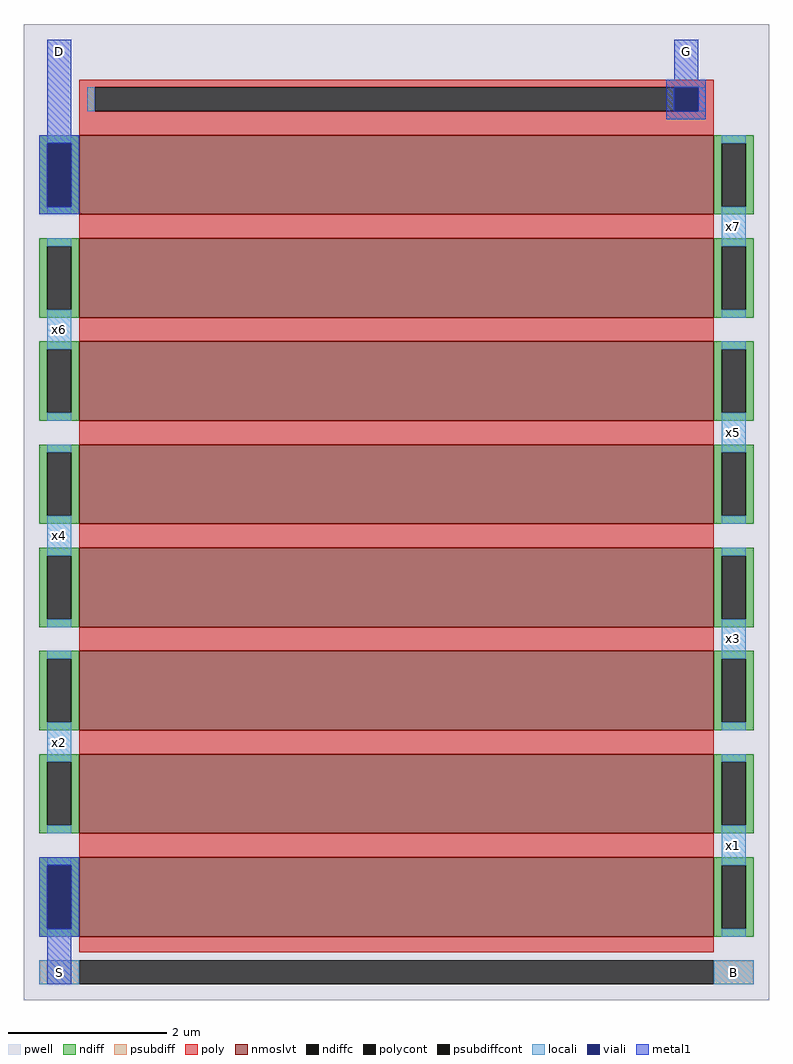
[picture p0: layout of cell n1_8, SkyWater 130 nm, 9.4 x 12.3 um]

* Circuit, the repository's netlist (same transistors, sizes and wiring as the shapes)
* NGSPICE file created from n1_8.ext - technology: sky130A

.subckt n1_8 D G S B
X0 x1 G S B sky130_fd_pr__nfet_01v8_lvt ad=1e+12p pd=6e+06u as=5e+11p ps=3e+06u w=1e+06u l=8e+06u
X1 x5 G x4 B sky130_fd_pr__nfet_01v8_lvt ad=1e+12p pd=6e+06u as=1e+12p ps=6e+06u w=1e+06u l=8e+06u
X2 x3 G x2 B sky130_fd_pr__nfet_01v8_lvt ad=1e+12p pd=6e+06u as=1e+12p ps=6e+06u w=1e+06u l=8e+06u
X3 x1 G x2 B sky130_fd_pr__nfet_01v8_lvt ad=0p pd=0u as=0p ps=0u w=1e+06u l=8e+06u
X4 x7 G D B sky130_fd_pr__nfet_01v8_lvt ad=1e+12p pd=6e+06u as=5e+11p ps=3e+06u w=1e+06u l=8e+06u
X5 x5 G x6 B sky130_fd_pr__nfet_01v8_lvt ad=0p pd=0u as=1e+12p ps=6e+06u w=1e+06u l=8e+06u
X6 x3 G x4 B sky130_fd_pr__nfet_01v8_lvt ad=0p pd=0u as=0p ps=0u w=1e+06u l=8e+06u
X7 x7 G x6 B sky130_fd_pr__nfet_01v8_lvt ad=0p pd=0u as=0p ps=0u w=1e+06u l=8e+06u
.ends

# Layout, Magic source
magic
tech sky130A
<< pwell >>
rect 5130 6720 6070 7950
<< nmoslvt >>
rect 5200 7710 6000 7810
rect 5200 7580 6000 7680
rect 5200 7450 6000 7550
rect 5200 7320 6000 7420
rect 5200 7190 6000 7290
rect 5200 7060 6000 7160
rect 5200 6930 6000 7030
rect 5200 6800 6000 6900
<< ndiff >>
rect 5150 7800 5200 7810
rect 5150 7720 5160 7800
rect 5190 7720 5200 7800
rect 5150 7710 5200 7720
rect 6000 7800 6050 7810
rect 6000 7720 6010 7800
rect 6040 7720 6050 7800
rect 6000 7710 6050 7720
rect 5150 7670 5200 7680
rect 5150 7590 5160 7670
rect 5190 7590 5200 7670
rect 5150 7580 5200 7590
rect 6000 7670 6050 7680
rect 6000 7590 6010 7670
rect 6040 7590 6050 7670
rect 6000 7580 6050 7590
rect 5150 7540 5200 7550
rect 5150 7460 5160 7540
rect 5190 7460 5200 7540
rect 5150 7450 5200 7460
rect 6000 7540 6050 7550
rect 6000 7460 6010 7540
rect 6040 7460 6050 7540
rect 6000 7450 6050 7460
rect 5150 7410 5200 7420
rect 5150 7330 5160 7410
rect 5190 7330 5200 7410
rect 5150 7320 5200 7330
rect 6000 7410 6050 7420
rect 6000 7330 6010 7410
rect 6040 7330 6050 7410
rect 6000 7320 6050 7330
rect 5150 7280 5200 7290
rect 5150 7200 5160 7280
rect 5190 7200 5200 7280
rect 5150 7190 5200 7200
rect 6000 7280 6050 7290
rect 6000 7200 6010 7280
rect 6040 7200 6050 7280
rect 6000 7190 6050 7200
rect 5150 7150 5200 7160
rect 5150 7070 5160 7150
rect 5190 7070 5200 7150
rect 5150 7060 5200 7070
rect 6000 7150 6050 7160
rect 6000 7070 6010 7150
rect 6040 7070 6050 7150
rect 6000 7060 6050 7070
rect 5150 7020 5200 7030
rect 5150 6940 5160 7020
rect 5190 6940 5200 7020
rect 5150 6930 5200 6940
rect 6000 7020 6050 7030
rect 6000 6940 6010 7020
rect 6040 6940 6050 7020
rect 6000 6930 6050 6940
rect 5150 6890 5200 6900
rect 5150 6810 5160 6890
rect 5190 6810 5200 6890
rect 5150 6800 5200 6810
rect 6000 6890 6050 6900
rect 6000 6810 6010 6890
rect 6040 6810 6050 6890
rect 6000 6800 6050 6810
<< ndiffc >>
rect 5160 7720 5190 7800
rect 6010 7720 6040 7800
rect 5160 7590 5190 7670
rect 6010 7590 6040 7670
rect 5160 7460 5190 7540
rect 6010 7460 6040 7540
rect 5160 7330 5190 7410
rect 6010 7330 6040 7410
rect 5160 7200 5190 7280
rect 6010 7200 6040 7280
rect 5160 7070 5190 7150
rect 6010 7070 6040 7150
rect 5160 6940 5190 7020
rect 6010 6940 6040 7020
rect 5160 6810 5190 6890
rect 6010 6810 6040 6890
<< psubdiff >>
rect 5150 6740 5200 6770
rect 6000 6740 6050 6770
<< psubdiffcont >>
rect 5200 6740 6000 6770
<< poly >>
rect 5200 7870 6000 7880
rect 5200 7840 5220 7870
rect 5980 7840 6000 7870
rect 5200 7810 6000 7840
rect 5200 7680 6000 7710
rect 5200 7550 6000 7580
rect 5200 7420 6000 7450
rect 5200 7290 6000 7320
rect 5200 7160 6000 7190
rect 5200 7030 6000 7060
rect 5200 6900 6000 6930
rect 5200 6780 6000 6800
<< polycont >>
rect 5220 7840 5980 7870
<< locali >>
rect 5210 7840 5220 7870
rect 5980 7840 5990 7870
rect 5160 7800 5190 7810
rect 5160 7710 5190 7720
rect 6010 7800 6040 7810
rect 5160 7670 5190 7680
rect 5160 7540 5190 7590
rect 6010 7670 6040 7720
rect 6010 7580 6040 7590
rect 5160 7450 5190 7460
rect 6010 7540 6040 7550
rect 5160 7410 5190 7420
rect 5160 7280 5190 7330
rect 6010 7410 6040 7460
rect 6010 7320 6040 7330
rect 5160 7190 5190 7200
rect 6010 7280 6040 7290
rect 5160 7150 5190 7160
rect 5160 7020 5190 7070
rect 6010 7150 6040 7200
rect 6010 7060 6040 7070
rect 5160 6930 5190 6940
rect 6010 7020 6040 7030
rect 5160 6890 5190 6900
rect 5160 6800 5190 6810
rect 6010 6890 6040 6940
rect 6010 6800 6040 6810
rect 5150 6740 5200 6770
rect 6000 6740 6050 6770
<< viali >>
rect 5950 7840 5980 7870
rect 5160 7720 5190 7800
rect 5160 6810 5190 6890
<< metal1 >>
rect 5160 7810 5190 7930
rect 5950 7880 5980 7930
rect 5940 7870 5990 7880
rect 5940 7840 5950 7870
rect 5980 7840 5990 7870
rect 5940 7830 5990 7840
rect 5150 7800 5200 7810
rect 5150 7720 5160 7800
rect 5190 7720 5200 7800
rect 5150 7710 5200 7720
rect 5150 6890 5200 6900
rect 5150 6810 5160 6890
rect 5190 6810 5200 6890
rect 5150 6800 5200 6810
rect 5160 6740 5190 6800
<< labels >>
rlabel metal1 5170 6750 5180 6760 1 S
port 3 n
rlabel pwell 6020 6750 6030 6760 1 B
port 4 n
rlabel metal1 5960 7910 5970 7920 1 G
port 2 n
rlabel metal1 5170 7910 5180 7920 1 D
port 1 n
rlabel locali 6020 6910 6030 6920 1 x1
rlabel locali 5170 7040 5180 7050 1 x2
rlabel locali 6020 7170 6030 7180 1 x3
rlabel locali 5170 7300 5180 7310 1 x4
rlabel locali 6020 7430 6030 7440 1 x5
rlabel locali 5170 7560 5180 7570 1 x6
rlabel locali 6020 7690 6030 7700 1 x7
<< end >>
